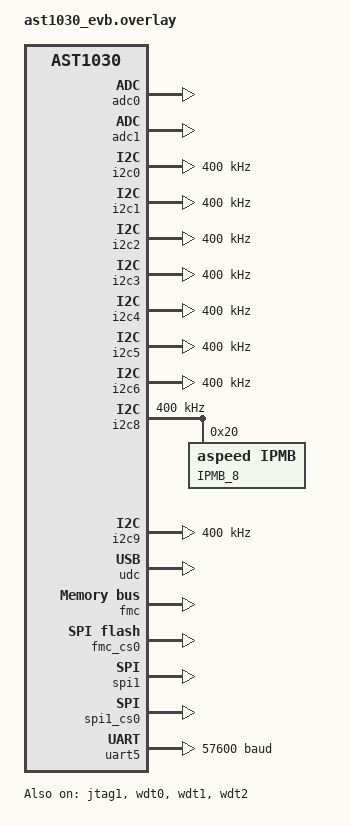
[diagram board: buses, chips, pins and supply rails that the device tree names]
&adc0 {
	status = "okay";
	pinctrl-0 = <	
				&pinctrl_adc0_default &pinctrl_adc1_default &pinctrl_adc2_default 
				&pinctrl_adc3_default &pinctrl_adc6_default &pinctrl_adc7_default	
				>;
};

&adc1 {
	status = "okay";
	pinctrl-0 = <  
				&pinctrl_adc8_default
				&pinctrl_adc9_default
				&pinctrl_adc11_default
				&pinctrl_adc13_default
				>;
};

&i2c0 {
	pinctrl-0 = <&pinctrl_i2c0_default>;
	status = "okay";
  clock-frequency = <I2C_BITRATE_FAST>;
};

&i2c1 {
	pinctrl-0 = <&pinctrl_i2c1_default>;
	status = "okay";
  clock-frequency = <I2C_BITRATE_FAST>;
};

&i2c2 {
	pinctrl-0 = <&pinctrl_i2c2_default>;
  status = "okay";
  clock-frequency = <I2C_BITRATE_FAST>;
};

&i2c3 {
	pinctrl-0 = <&pinctrl_i2c3_default>;
	status = "okay";
  clock-frequency = <I2C_BITRATE_FAST>;
};

&i2c4 {
  pinctrl-0 = <&pinctrl_i2c4_default>;
  status = "okay";
  clock-frequency = <I2C_BITRATE_FAST>;
};

&i2c5 {
  pinctrl-0 = <&pinctrl_i2c5_default>;
  status = "okay";
  clock-frequency = <I2C_BITRATE_FAST>;
};

&i2c6 {
  pinctrl-0 = <&pinctrl_i2c6_default>;
  status = "okay";
  clock-frequency = <I2C_BITRATE_FAST>;

};

&i2c8 {
  pinctrl-0 = <&pinctrl_i2c8_default>;
  status = "okay";
  clock-frequency = <I2C_BITRATE_FAST>;

  ipmb8: ipmb@20 {
    compatible = "aspeed,ipmb";
    reg = <0x20>;
    label = "IPMB_8";
    size = <10>;
#ifdef CONFIG_I2C_IPMB_SLAVE
    status = "okay";
#endif
  };

};

&i2c9 {
	pinctrl-0 = <&pinctrl_i2c9_default>;
  status = "okay";
  clock-frequency = <I2C_BITRATE_FAST>;
};

&udc {
	status = "okay";
};

&fmc {
	status = "okay";
};

&fmc_cs0 {
	status = "okay";
	spi-max-buswidth = <4>;
	spi-max-frequency = <50000000>;

	partitions {
		compatible = "fixed-partitions";
		#address-cells = <1>;
		#size-cells = <1>;
		boot_partition: partition@0 {
			label = "image-0";
			reg = <0x0 0x100000>;
		};
		dfu_partition: partition@1 {
		  label = "image-1";
	    reg = <0x0 0x100000>;
    };
	};
};

&spi1 {
	status = "okay";
};

&spi1_cs0 {
	status = "okay";
	spi-max-buswidth = <4>;
	spi-max-frequency = <50000000>;
};

&uart5 {
  current-speed = <57600>;
};

&gpio0_a_d {
  aspeed,persist-maps = <0xB9290028>;
};

&gpio0_e_h {
  aspeed,persist-maps = <0x0c870402>;
};

&gpio0_i_l {
  aspeed,persist-maps = <0x00000400>;
};

&gpio0_m_p {
  aspeed,persist-maps = <0xc000c019>;
};

&gpio0_q_t {
  aspeed,persist-maps = <0x00000001>;
};

&jtag1{
	status = "okay";
};

&wdt0 {
	status = "okay";
};

&wdt1 {
	status = "okay";
};

&wdt2 {
	status = "okay";
};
